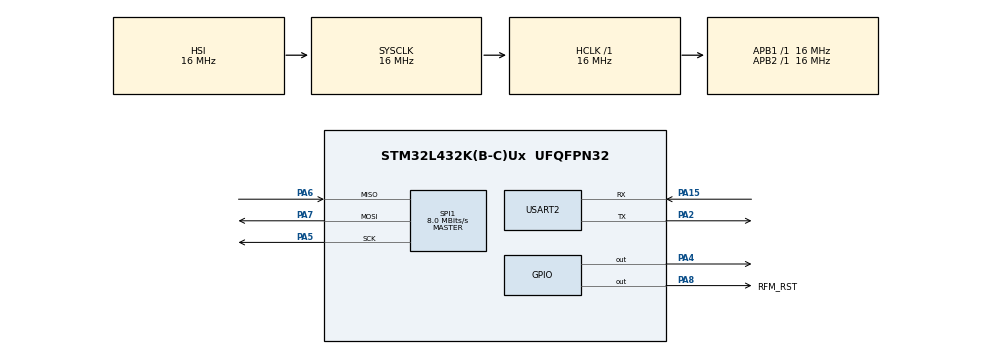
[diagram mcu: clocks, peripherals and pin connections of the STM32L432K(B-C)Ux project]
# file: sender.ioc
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Mcu.Family=STM32L4
Mcu.Name=STM32L432K(B-C)Ux
Mcu.Package=UFQFPN32
NVIC.PriorityGroup=NVIC_PRIORITYGROUP_4
PA15\ (JTDI).Mode=Asynchronous
PA15\ (JTDI).Signal=USART2_RX
PA2.Mode=Asynchronous
PA2.Signal=USART2_TX
PA4.Signal=GPIO_Output
PA5.Mode=Full_Duplex_Master
PA5.Signal=SPI1_SCK
PA6.Mode=Full_Duplex_Master
PA6.Signal=SPI1_MISO
PA7.Mode=Full_Duplex_Master
PA7.Signal=SPI1_MOSI
PA8.GPIO_Label=RFM_RST
PA8.Signal=GPIO_Output
ProjectManager.HeapSize=0x200
ProjectManager.StackSize=0x400
ProjectManager.TargetToolchain=STM32CubeIDE
RCC.AHBFreq_Value=16000000
RCC.APB1Freq_Value=16000000
RCC.APB1TimFreq_Value=16000000
RCC.APB2Freq_Value=16000000
RCC.APB2TimFreq_Value=16000000
RCC.CortexFreq_Value=16000000
RCC.HCLKFreq_Value=16000000
RCC.HSE_VALUE=8000000
RCC.HSI48_VALUE=48000000
RCC.HSI_VALUE=16000000
RCC.LSE_VALUE=32768
RCC.MSI_VALUE=4000000
RCC.SYSCLKFreq_VALUE=16000000
RCC.SYSCLKSource=RCC_SYSCLKSOURCE_HSI
RCC.VCOOutputFreq_Value=32000000
SPI1.CalculateBaudRate=8.0 MBits/s
SPI1.DataSize=SPI_DATASIZE_8BIT
SPI1.Direction=SPI_DIRECTION_2LINES
SPI1.Mode=SPI_MODE_MASTER
SPI1.VirtualType=VM_MASTER
USART2.VirtualMode-Asynchronous=VM_ASYNC
board=custom

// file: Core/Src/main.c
/* USER CODE BEGIN Header */
/**
  ******************************************************************************
  * @file           : main.c
  * @brief          : Main program body
  ******************************************************************************
  * @attention
  *
  * Copyright (c) 2025 STMicroelectronics.
  * All rights reserved.
  *
  * This software is licensed under terms that can be found in the LICENSE file
  * in the root directory of this software component.
  * If no LICENSE file comes with this software, it is provided AS-IS.
  *
  ******************************************************************************
  */
/* USER CODE END Header */
#include "main.h"
#include "spi.h"
#include "usart.h"
#include "gpio.h"

/* USER CODE BEGIN PD */
#define FXOSC		32000000
#define BITRATE		9600

#define RFM_RST		GPIO_PIN_8

#define BASE_PWM		70		// default forward/backward duty cycle
#define RAMP_MIN		50		// minimum speed when decelerating with Ctrl
#define RAMP_MAX		100		// maximum ramp duty cycle
#define RAMP_STEP		5		// duty cycle step per packet when shift held
#define TURN_OFFSET		10		// differential added/subtracted during moving turns
#define INPLACE_PWM		55		// duty cycle for in-place turns
/* USER CODE END PD */

void SystemClock_Config(void);
/* USER CODE BEGIN PFP */
void rfm_config();
void rfm_select();
void rfm_deselect();
void rfm_reset();

void rfm_write_reg(uint8_t addr, uint8_t byte);
uint8_t rfm_read_reg(uint8_t addr);

void rfm_write_fifo(uint8_t * data, uint8_t len);
void rfm_send(uint8_t * data, uint8_t len);
/* USER CODE END PFP */

int main(void)
{

  /* MCU Configuration--------------------------------------------------------*/

  /* Reset of all peripherals, Initializes the Flash interface and the Systick. */
  HAL_Init();

  /* USER CODE BEGIN Init */

  // PA8 (D9) --> SS
  // PA5 (A4) --> SCK
  // PA6 (A5) --> MISO
  // PA7 (A6) --> MOSI

  /* USER CODE END Init */

  /* Configure the system clock */
  SystemClock_Config();

  /* Initialize all configured peripherals */
  MX_GPIO_Init();
  MX_SPI1_Init();
  MX_USART2_UART_Init();
  /* USER CODE BEGIN 2 */
  rfm_deselect();
  rfm_reset();

  rfm_config();

  // GUI must send 6 bytes per packet:
  // [W, A, S, D, Shift, Ctrl]  (0xA0 = pressed, 0x05 = unpressed)
  uint8_t keys[6];			// [up, left, down, right, shift, ctrl]

  uint8_t left_dir, right_dir;	// 0 - backwards, 1 - forwards
  uint8_t left_pwm, right_pwm;	// (0, 100)

  // Ramp state — persists across loop iterations
  uint8_t ramp_pwm = BASE_PWM;	// current speed level, climbs when shift held

  /* USER CODE END 2 */

  /* Infinite loop */
  /* USER CODE BEGIN WHILE */
  while (1)
  {
	// Receive state of WASD + Shift keys from serial buffer
	// GUI must send exactly 5 bytes per update cycle
	HAL_UART_Receive(&huart2, keys, 6, HAL_MAX_DELAY);

	uint8_t w     = keys[0];
	uint8_t a     = keys[1];
	uint8_t s     = keys[2];
	uint8_t d     = keys[3];
	uint8_t shift = keys[4];
	uint8_t ctrl  = keys[5];

	// 0xA0 indicates pressed key, 0x05 indicates unpressed key

	// ----------------------------------------------------------------
	// Determine base direction and starting PWM
	// ----------------------------------------------------------------
	uint8_t moving_forward  = (w == 0xA0 && s == 0x05);
	uint8_t moving_backward = (w == 0x05 && s == 0xA0);
	uint8_t moving          = moving_forward || moving_backward;

	if (moving_forward)
	{
		left_dir = right_dir = 1;
	}
	else if (moving_backward)
	{
		left_dir = right_dir = 0;
	}
	else
	{
		left_dir = right_dir = 0;
	}

	// ----------------------------------------------------------------
	// Speed ramp: only active while Shift is held during forward/backward
	// Resets to BASE_PWM when Shift is released or no W/S input
	// ----------------------------------------------------------------
	// Ramp behavior:
	//   W/S alone        -> hold ramp_pwm at current value (BASE_PWM on first press)
	//   W/S + Shift      -> accelerate up to RAMP_MAX, held on Shift release
	//   W/S + Ctrl       -> decelerate down to RAMP_MIN, held on Ctrl release
	//   Release W/S      -> reset ramp_pwm to BASE_PWM for next press
	if (!moving)
	{
		// Not moving — reset so next W/S press starts fresh at BASE_PWM
		ramp_pwm = BASE_PWM;
	}
	else if (shift == 0xA0)
	{
		// Accelerate
		ramp_pwm += RAMP_STEP;
		if (ramp_pwm > RAMP_MAX)
			ramp_pwm = RAMP_MAX;
	}
	else if (ctrl == 0xA0)
	{
		// Decelerate
		if (ramp_pwm > RAMP_MIN + RAMP_STEP)
			ramp_pwm -= RAMP_STEP;
		else
			ramp_pwm = RAMP_MIN;
	}
	// else: W/S held, no modifier — hold ramp_pwm as-is

	if (moving)
	{
		left_pwm = right_pwm = ramp_pwm;
	}
	else
	{
		left_pwm = right_pwm = 0;
	}

	// ----------------------------------------------------------------
	// Steering logic
	// ----------------------------------------------------------------
	uint8_t no_vertical   = (w == 0x05 && s == 0x05);
	uint8_t both_vertical = (w == 0xA0 && s == 0xA0);

	if (no_vertical || both_vertical)
	{
		// In-place turns: ignore ramp, use fixed INPLACE_PWM
		if (a == 0xA0 && d == 0x05)		// turn in place left
		{
			left_dir  = 0;
			right_dir = 1;
			left_pwm  = right_pwm = INPLACE_PWM;
		}
		else if (a == 0x05 && d == 0xA0)	// turn in place right
		{
			left_dir  = 1;
			right_dir = 0;
			left_pwm  = right_pwm = INPLACE_PWM;
		}
	}
	else
	{
		// Moving turns: apply differential to current ramp speed.
		// Outer wheel capped at RAMP_MAX (100), inner at BASE_PWM (70).
		if (a == 0xA0 && d == 0x05)		// steer left
		{
			if (moving_forward)
			{
				// Speed up right (outer), slow down left (inner)
				right_pwm = ramp_pwm + TURN_OFFSET;
				left_pwm  = ramp_pwm - TURN_OFFSET;
			}
			else if (moving_backward)
			{
				// Speed up left (outer going back), slow down right
				left_pwm  = ramp_pwm + TURN_OFFSET;
				right_pwm = ramp_pwm - TURN_OFFSET;
			}
		}
		else if (a == 0x05 && d == 0xA0)	// steer right
		{
			if (moving_forward)
			{
				// Speed up left (outer), slow down right (inner)
				left_pwm  = ramp_pwm + TURN_OFFSET;
				right_pwm = ramp_pwm - TURN_OFFSET;
			}
			else if (moving_backward)
			{
				// Speed up right (outer going back), slow down left
				right_pwm = ramp_pwm + TURN_OFFSET;
				left_pwm  = ramp_pwm - TURN_OFFSET;
			}
		}
	}

	// ----------------------------------------------------------------
	// Clamp PWM values to valid range [0, 100]
	// Outer wheel max is RAMP_MAX (100), inner max is BASE_PWM (70)
	// as specified — use unsigned arithmetic guard for underflow too
	// ----------------------------------------------------------------
	if (left_pwm  > RAMP_MAX) left_pwm  = RAMP_MAX;
	if (right_pwm > RAMP_MAX) right_pwm = RAMP_MAX;

	// radio packet structure is
	//
	// [left motor direction, left motor pwm, right motor direction, right motor pwm]
	//
	uint8_t motors[4] = {left_dir, left_pwm, right_dir, right_pwm};

	// Send data over radio to receiver
	rfm_send(motors, 4);
    /* USER CODE END WHILE */

  }
}

void SystemClock_Config(void)
{
  RCC_OscInitTypeDef RCC_OscInitStruct = {0};
  RCC_ClkInitTypeDef RCC_ClkInitStruct = {0};

  /** Configure the main internal regulator output voltage
  */
  if (HAL_PWREx_ControlVoltageScaling(PWR_REGULATOR_VOLTAGE_SCALE1) != HAL_OK)
  {
    Error_Handler();
  }

  /** Initializes the RCC Oscillators according to the specified parameters
  * in the RCC_OscInitTypeDef structure.
  */
  RCC_OscInitStruct.OscillatorType = RCC_OSCILLATORTYPE_HSI;
  RCC_OscInitStruct.HSIState = RCC_HSI_ON;
  RCC_OscInitStruct.HSICalibrationValue = RCC_HSICALIBRATION_DEFAULT;
  RCC_OscInitStruct.PLL.PLLState = RCC_PLL_NONE;
  if (HAL_RCC_OscConfig(&RCC_OscInitStruct) != HAL_OK)
  {
    Error_Handler();
  }

  /** Initializes the CPU, AHB and APB buses clocks
  */
  RCC_ClkInitStruct.ClockType = RCC_CLOCKTYPE_HCLK|RCC_CLOCKTYPE_SYSCLK
                              |RCC_CLOCKTYPE_PCLK1|RCC_CLOCKTYPE_PCLK2;
  RCC_ClkInitStruct.SYSCLKSource = RCC_SYSCLKSOURCE_HSI;
  RCC_ClkInitStruct.AHBCLKDivider = RCC_SYSCLK_DIV1;
  RCC_ClkInitStruct.APB1CLKDivider = RCC_HCLK_DIV1;
  RCC_ClkInitStruct.APB2CLKDivider = RCC_HCLK_DIV1;

  if (HAL_RCC_ClockConfig(&RCC_ClkInitStruct, FLASH_LATENCY_0) != HAL_OK)
  {
    Error_Handler();
  }
}

/* USER CODE BEGIN 4 */
void rfm_config()
{
	// Start in Standby mode
	// Mode in RegOpMode = 001
	// ListenOn in RegOpMode = 0
	rfm_write_reg(0x01, 0x04);

	// wait until sender goes into standby mode
	while (!(rfm_read_reg(0x27) & 0x80));

	// Packet Mode, uC does not directly control modulation
	// FSK Modulation, no modulation shaping
	rfm_write_reg(0x02, 0x00);

	uint16_t bitrate = FXOSC / BITRATE;
	rfm_write_reg(0x03, (uint8_t) (bitrate >> 8));
	rfm_write_reg(0x04, (uint8_t) bitrate);

	// 5 kHz frequency deviation
	rfm_write_reg(0x05, 0x00);
	rfm_write_reg(0x06, 0x52);

	// RF Carrier Frequency - 915 MHz
	rfm_write_reg(0x07, 0xE4);
	rfm_write_reg(0x08, 0xC0);
	rfm_write_reg(0x09, 0x00);

	// standard AFC routine
	rfm_write_reg(0x0B, 0x00);

	// AFC performed every time RX mode is entered
	rfm_write_reg(0x1E, 0x04);

	// PayloadSent on DIO0
	rfm_write_reg(0x25, 0x00);

	// default RSSI threshold
	rfm_write_reg(0x29, 0xE4);

	// Preamble and Sync configuration
	rfm_write_reg(0x2C, 0x00); 			// Preamble MSB
	rfm_write_reg(0x2D, 0x08); 			// Preamble LSB (8 bytes)
	rfm_write_reg(0x2E, 0x88); 			// SyncConfig: Sync on
	rfm_write_reg(0x2F, 0x2D); 			// Sync Value 1
	rfm_write_reg(0x30, 0xD4); 			// Sync Value 2

	// Packet Configuration settings
	// Fixed length packets
	// CRC on
	// No address filtering
	rfm_write_reg(0x37, 0x10);

	// Payload length: 4 bytes
	rfm_write_reg(0x38, 4);

	// Set FIFO threshold, TX will start when FIFO is not empty
	rfm_write_reg(0x3C, 0x8F);

	// Set output on PA1 + PA2 (MUST)!!!!
	rfm_write_reg(0x11, 0x7F);
	rfm_write_reg(0x13, 0x0F);
	rfm_write_reg(0x5A, 0x5D);
	rfm_write_reg(0x5C, 0x7C);

	// wait until PA ramps up and radio is ready
	while (!(rfm_read_reg(0x27) & 0x80));
}

void rfm_select()
{
	HAL_GPIO_WritePin(GPIOA, GPIO_PIN_4, GPIO_PIN_RESET);
}

void rfm_deselect()
{
	HAL_GPIO_WritePin(GPIOA, GPIO_PIN_4, GPIO_PIN_SET);
}

void rfm_reset()
{
	HAL_GPIO_WritePin(GPIOA, RFM_RST, GPIO_PIN_SET);
	HAL_Delay(1);
	HAL_GPIO_WritePin(GPIOA, RFM_RST, GPIO_PIN_RESET);
	HAL_Delay(10);
}

void rfm_write_reg(uint8_t addr, uint8_t byte)
{
	// MSB of addr must be 1 on write
	uint8_t buff[2] = {addr | 0x80, byte};

	rfm_select();
	HAL_SPI_Transmit(&hspi1, buff, 2, 1000);
	rfm_deselect();
}

uint8_t rfm_read_reg(uint8_t addr)
{

	// MSB must be 0 for read
	addr &= ~0x80;

	uint8_t send_buff[2] = {addr, 0};
	uint8_t rcv_buff[2];

	rfm_select();
	HAL_SPI_TransmitReceive(&hspi1, send_buff, rcv_buff, 2, 1000);
	rfm_deselect();

	return rcv_buff[1];
}

void rfm_write_fifo(uint8_t * data, uint8_t len)
{
	uint8_t send_buff[len + 1];
	send_buff[0] = 0x80;
	for (uint8_t i = 0; i < len; i++)
	{
		send_buff[i+1] = data[i];
	}

	rfm_select();
	HAL_SPI_Transmit(&hspi1, send_buff, len + 1, 1000);
	rfm_deselect();
}

void rfm_send(uint8_t * data, uint8_t len)
{
	// Write payload into FIFO register
	rfm_write_fifo(data, len);

	// Switch to TX mode
	rfm_write_reg(0x01, 0x0C);

	// Wait until packet has been sent, then return to standby mode
	while (!(rfm_read_reg(0x28) & 0x08));
	rfm_write_reg(0x01, 0x04);
}
/* USER CODE END 4 */

void Error_Handler(void)
{
  __disable_irq();
  while (1)
  {
  }
}
